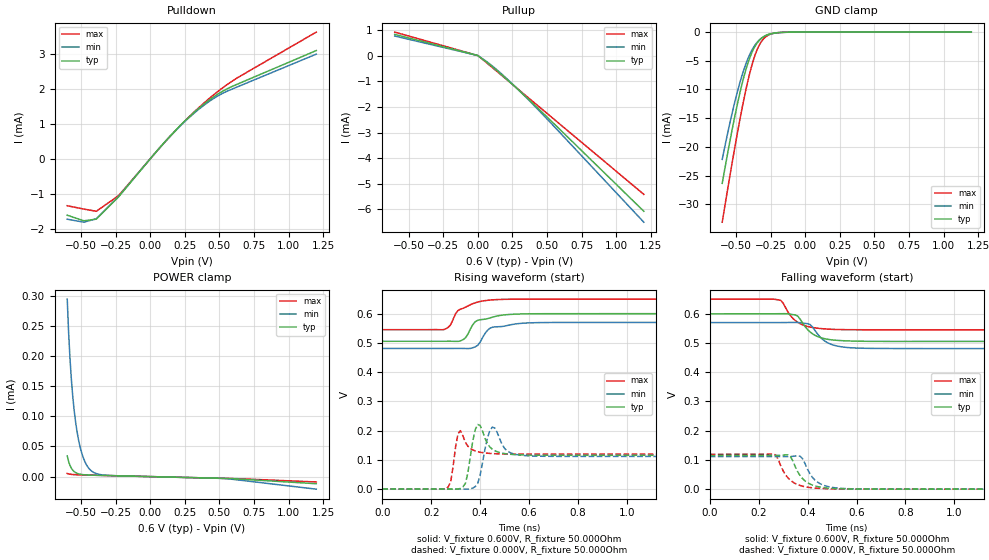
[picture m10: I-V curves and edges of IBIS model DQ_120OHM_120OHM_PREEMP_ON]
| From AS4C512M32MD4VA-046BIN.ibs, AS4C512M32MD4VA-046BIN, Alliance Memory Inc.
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|   MODEL: DQ_120OHM_120OHM_PREEMP_ON
[Model]   DQ_120OHM_120OHM_PREEMP_ON
Model_type   I/O
Polarity   Non-Inverting
Enable   Active-High
Vinl   = 0.080V
Vinh   = 0.220V
Vmeas   = 0.150V
Vref   = 0.150V
Cref   = 0.000pF
Rref   = 50.000Ohm
|   typ   min   max
C_comp   0.875pF   0.788pF   0.963pF
[Voltage Range]   0.600V   0.570V   0.650V
[Temperature Range]   25.0   85.0   -40.0
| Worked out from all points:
|   slope of the pulldown table from 0 to 0.09 V, typ, clamps not added: 217 ohm
|   slope of the pullup table from 0 to 0.09 V, typ, clamps not added: 243 ohm
|   GND clamp passes 1 mA (typ) near -0.31 V on its own axis
|   rising waveform, V_fixture 0.600V, R_fixture 50.000Ohm: 20-80 % time 72.7ps typ, 49.7ps min, 74.8ps max; typ from 0.505 V to 0.6 V
|   falling waveform, V_fixture 0.600V, R_fixture 50.000Ohm: 20-80 % time 65.5ps typ, 64.9ps min, 64.3ps max; typ from 0.6 V to 0.506 V
|   rising waveform, V_fixture 0.000V, R_fixture 50.000Ohm: 20-80 % time 15.7ps typ, 18.4ps min, 13.5ps max; typ from 0 V to 0.115 V
|   falling waveform, V_fixture 0.000V, R_fixture 50.000Ohm: 20-80 % time 56.2ps typ, 55.4ps min, 57ps max; typ from 0.115 V to 0 V
[Pulldown]
|   Voltage   I(typ)   I(min)   I(max)
-600mV    -1.616mA   -1.73mA    -1.344mA
-480mV    -1.776mA   -1.816mA   -1.44mA
-390mV    -1.729mA   -1.717mA   -1.503mA
-230mV    -1.095mA   -1.087mA   -1.059mA
0V        0A         0A         0A
140mV     633.6uA    626uA      626.7uA
270mV     1.157mA    1.139mA    1.159mA
390mV     1.571mA    1.54mA     1.603mA
490mV     1.854mA    1.803mA    1.931mA
580mV     2.05mA     1.977mA    2.191mA
1.2V      3.099mA    2.997mA    3.627mA
[Pullup]
|   Voltage   I(typ)   I(min)   I(max)
-600mV    822.9uA    759.1uA    913uA
0V        0A         0A         0A
70mV      -282.8uA   -260.1uA   -309.3uA
210mV     -927uA     -902.4uA   -941.1uA
400mV     -1.877mA   -1.909mA   -1.801mA
1.2V      -6.068mA   -6.495mA   -5.41mA
[GND Clamp]
|   Voltage   I(typ)   I(min)   I(max)
-600mV    -26.36mA   -22.19mA   -33.14mA
-550mV    -19.73mA   -16.43mA   -25.84mA
-510mV    -14.79mA   -12.27mA   -20.24mA
-470mV    -10.36mA   -8.615mA   -14.96mA
-430mV    -6.627mA   -5.609mA   -10.17mA
-390mV    -3.805mA   -3.349mA   -6.151mA
-360mV    -2.341mA   -2.151mA   -3.819mA
-320mV    -1.14mA    -1.122mA   -1.755mA
-280mV    -524.1uA   -555.5uA   -715.7uA
-230mV    -184.4uA   -215.6uA   -213.3uA
-140mV    -20.29uA   -29.99uA   -17.96uA
1.2V      6.836uA    7.386uA    6.714uA
[POWER Clamp]
|   Voltage   I(typ)   I(min)   I(max)
-600mV    34.27uA    294.1uA    5.169uA
-590mV    25uA       238.9uA    4.47uA
-570mV    13.84uA    160.6uA    3.674uA
-560mV    10.58uA    132.6uA    3.444uA
-540mV    6.655uA    91.24uA    3.146uA
-520mV    4.678uA    62.84uA    2.957uA
-490mV    3.339uA    35.2uA     2.748uA
-460mV    2.772uA    19.1uA     2.569uA
-420mV    2.39uA     8.47uA     2.342uA
-300mV    1.671uA    1.938uA    1.671uA
560mV     -3.13uA    -3.595uA   -3.086uA
1.2V      -11.8uA    -20.82uA   -8.926uA
[Ramp]
R_load = 50.000Ohm
|   typ   min   max
dV/dt_r   0.057V/70.000ps   0.053V/50.000ps   0.063V/70.000ps
dV/dt_f   0.057V/70.000ps   0.053V/60.000ps   0.063V/60.000ps
|Slew_r   0.811V/ns   1.069V/ns   0.898V/ns
|Slew_f   0.809V/ns   0.888V/ns   1.045V/ns
[Rising Waveform]
V_fixture = 0.600V
V_fixture_min = 0.570V
V_fixture_max = 0.650V
R_fixture = 50.000Ohm
L_fixture = 0.000nH
C_fixture = 0.000pF
|dV/dt_r   0.057V/70.000ps   0.053V/50.000ps   0.063V/70.000ps
|Slew_r   0.811V/ns   1.069V/ns   0.898V/ns
|   Time   V(typ)   V(min)   V(max)
0s        505.4mV    480.9mV    545.2mV
250ps     505.5mV    481mV      545.1mV
280ps     505.6mV    481mV      562.8mV
310ps     505.2mV    481.1mV    611.1mV
340ps     517.2mV    480.8mV    622mV
390ps     577.4mV    491.6mV    639.7mV
440ps     585.4mV    549.9mV    646.6mV
500ps     595.9mV    557.5mV    649.1mV
730ps     599.9mV    570mV      650mV
5ns       600mV      570mV      650mV
[Falling Waveform]
V_fixture = 0.600V
V_fixture_min = 0.570V
V_fixture_max = 0.650V
R_fixture = 50.000Ohm
L_fixture = 0.000nH
C_fixture = 0.000pF
|dV/dt_f   0.057V/70.000ps   0.053V/60.000ps   0.063V/60.000ps
|Slew_f   0.809V/ns   0.888V/ns   1.045V/ns
|   Time   V(typ)   V(min)   V(max)
0s        599.9mV    569.9mV    649.9mV
290ps     600.3mV    570mV      645.9mV
330ps     598.5mV    570.3mV    593.8mV
360ps     591.7mV    570.3mV    570.6mV
400ps     545.8mV    566.2mV    556.5mV
430ps     526.5mV    543.1mV    551.8mV
470ps     514.7mV    506.8mV    548.4mV
530ps     508.6mV    488.2mV    546.1mV
770ps     505.5mV    481.2mV    545.4mV
5ns       505.5mV    481mV      545.4mV
[Rising Waveform]
V_fixture = 0.000V
V_fixture_min = 0.000V
V_fixture_max = 0.000V
R_fixture = 50.000Ohm
L_fixture = 0.000nH
C_fixture = 0.000pF
|dV/dt_r   0.069V/10.000ps   0.067V/10.000ps   0.072V/20.000ps
|Slew_r   6.928V/ns   6.693V/ns   3.581V/ns
|   Time   V(typ)   V(min)   V(max)
0s        7.736uV    22.9uV     3.255uV
260ps     48.61uV    21.29uV    1.336mV
280ps     -15.26uV   27.67uV    26.19mV
310ps     -202.5uV   56.25uV    190.3mV
330ps     7.601mV    -172.6uV   180.8mV
390ps     220.7mV    18.89mV    127.8mV
450ps     136.1mV    211.7mV    121.4mV
510ps     120.1mV    130.9mV    119.9mV
630ps     115.8mV    112.5mV    119.5mV
5ns       115.5mV    111.6mV    119.4mV
[Falling Waveform]
V_fixture = 0.000V
V_fixture_min = 0.000V
V_fixture_max = 0.000V
R_fixture = 50.000Ohm
L_fixture = 0.000nH
C_fixture = 0.000pF
|dV/dt_f   0.069V/50.000ps   0.067V/60.000ps   0.072V/50.000ps
|Slew_f   1.385V/ns   1.115V/ns   1.432V/ns
|   Time   V(typ)   V(min)   V(max)
0s        115.4mV    111.5mV    119.4mV
260ps     115.5mV    111.6mV    120.7mV
270ps     115.4mV    111.6mV    116.5mV
320ps     117.2mV    111.5mV    38.19mV
330ps     111.1mV    111.7mV    30.09mV
360ps     58.47mV    114.4mV    15.23mV
380ps     35.41mV    103.3mV    9.897mV
430ps     11.13mV    31.07mV    3.799mV
500ps     2.614mV    6.169mV    898.4uV
5ns       8.031uV    23.11uV    3.516uV
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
